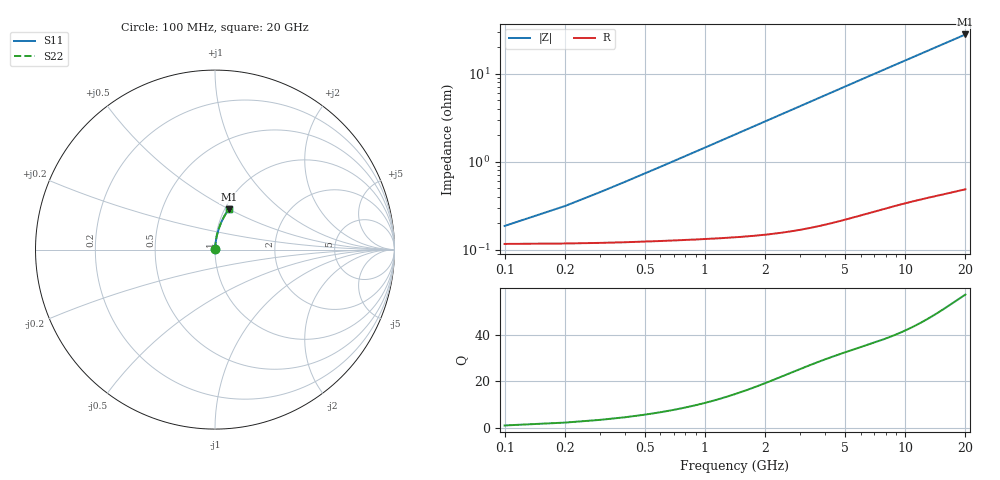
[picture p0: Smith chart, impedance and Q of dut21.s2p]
! Touchstone file exported from HFSS 2026.1.0
!  File:  C:/ffzhzh/LocalFiles/Ansys_Project_Files/temp_train_TMRDL_21_1782880326_42304.aedt
!  Generated:  12:33:25 PM Jul  1, 2026
!  Design:  TMRDL
!  Project:  temp_train_TMRDL_21_1782880326_42304
! Variables:
!  h_bsmrdl = 2um
!  h_ox = 20um
!  h_rdl = 5um
!  h_sub = 80um
!  h_tmrdl = 5.22um
!  h_tsv = 80um
!  h_via = 3um
!  l_bsmrdl = 300um
!  l_sub = 563.41um
!  l_tmrdl = 163.41um
!  m_sub = 200um
!  pitch = 59.28um
!  r_tsv = 6um
!  s_tmrdl = 10um
!  w_bsmrdl = 18um
!  w_sub = 500um
!  w_tmrdl = 10.27um
!  x_tsv_center1 = 168.545um
!  x_tsv_center2 = 486.545um
!  x_tsv_center3 = 660.225um
!  x_tsv_center4 = 978.225um
!  x_tsv_center5 = 1151.905um
!  x_tsv_center6 = 1469.905um
# GHz S MA R 50.000000
! Terminal data exported
! Port[1] = TM_RDL1_1_T1
! Port[2] = TM_RDL1_1_T2
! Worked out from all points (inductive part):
!   200 points, 100 MHz to 20 GHz, reference 50 ohm
!   read as one part in series: L = 231 pH near 300 MHz
!   highest Q = 57 at 20 GHz (marker M1), where L = 222 pH
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0.1  0.00174 47.6  0.9988 -0.1  0.9988 -0.1  0.00174 47.6
! Gamma 0 0 0 0
! Port Impedance 50 0 50 0
0.2  0.00283 65.1  0.9988 -0.2  0.9988 -0.2  0.00283 65.1
0.3  0.004029 72.3  0.9988 -0.3  0.9988 -0.3  0.004029 72.3
0.4  0.005258 76.2  0.9988 -0.4  0.9988 -0.4  0.005258 76.2
0.5  0.006498 78.5  0.9987 -0.5  0.9987 -0.5  0.006498 78.5
0.7  0.008988 81.2  0.9987 -0.6  0.9987 -0.6  0.008988 81.2
0.8  0.01024 82.0  0.9986 -0.7  0.9986 -0.7  0.01024 82.0
1  0.01274 83.1  0.9986 -0.9  0.9986 -0.9  0.01274 83.1
1.2  0.01524 83.8  0.9985 -1.1  0.9985 -1.1  0.01524 83.8
1.4  0.01774 84.2  0.9984 -1.3  0.9984 -1.3  0.01774 84.2
1.7  0.0215 84.6  0.9983 -1.6  0.9983 -1.6  0.0215 84.6
2  0.02525 84.8  0.9982 -1.8  0.9982 -1.8  0.02525 84.8
2.7  0.03399 84.8  0.9978 -2.5  0.9978 -2.5  0.03399 84.8
3.5  0.04393 84.4  0.9972 -3.2  0.9972 -3.2  0.04393 84.4
4.2  0.05258 84.0  0.9966 -3.8  0.9966 -3.8  0.05258 84.0
5  0.06241 83.4  0.9959 -4.6  0.9959 -4.6  0.06241 83.4
6.8  0.0843 82.0  0.9938 -6.2  0.9938 -6.2  0.0843 82.0
8.3  0.1023 80.8  0.9918 -7.5  0.9918 -7.5  0.1023 80.8
10.1  0.1237 79.3  0.989 -9.1  0.989 -9.1  0.1237 79.3
13.4  0.1622 76.6  0.9829 -12.0  0.9829 -12.0  0.1622 76.6
16.7  0.1997 73.9  0.9755 -14.8  0.9755 -14.8  0.1997 73.9
20  0.2361 71.2  0.967 -17.6  0.967 -17.6  0.2361 71.2
